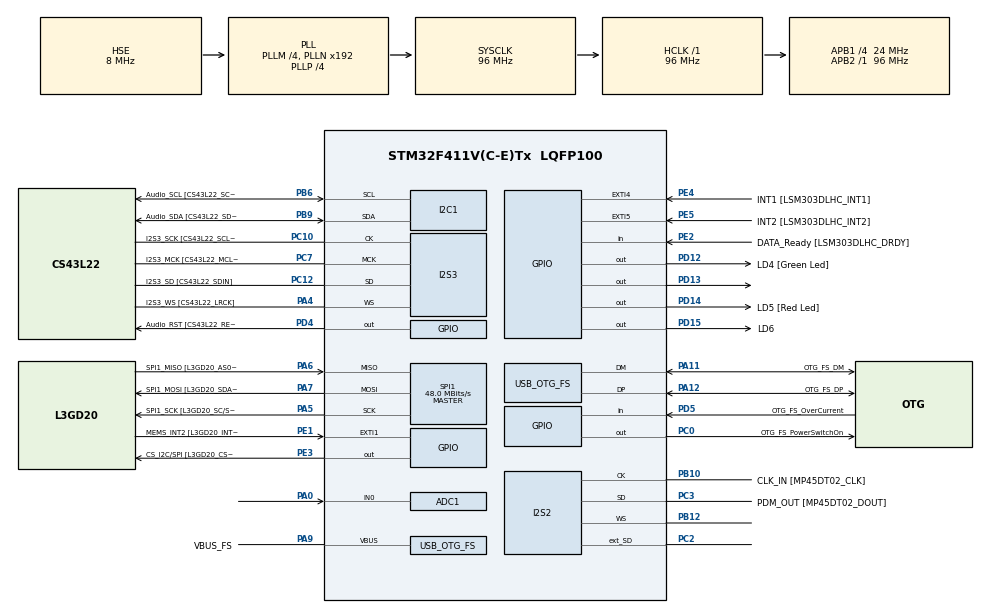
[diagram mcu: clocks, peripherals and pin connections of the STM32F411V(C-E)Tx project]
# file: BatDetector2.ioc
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ADC1.Channel-0\#ChannelRegularConversion=ADC_CHANNEL_0
ADC1.NbrOfConversionFlag=1
ADC1.Rank-0\#ChannelRegularConversion=1
ADC1.SamplingTime-0\#ChannelRegularConversion=ADC_SAMPLETIME_3CYCLES
ADC1.master=1
I2S2.AudioFreq=I2S_AUDIOFREQ_96K
I2S2.ErrorAudioFreq=0.15 %
I2S2.FullDuplexMode=I2S_FULLDUPLEXMODE_ENABLE
I2S2.Instance=SPI$Index
I2S2.RealAudioFreq=96.153 KHz
I2S2.VirtualMode=I2S_MODE_MASTER
I2S3.AudioFreq=I2S_AUDIOFREQ_96K
I2S3.ErrorAudioFreq=-6.99 %
I2S3.FullDuplexMode=I2S_FULLDUPLEXMODE_DISABLE
I2S3.Instance=SPI$Index
I2S3.RealAudioFreq=89.285 KHz
I2S3.VirtualMode=I2S_MODE_MASTER
Mcu.Family=STM32F4
Mcu.Name=STM32F411V(C-E)Tx
Mcu.Package=LQFP100
NVIC.OTG_FS_IRQn=true\:0\:0\:false\:false\:true\:true\:true\:true
NVIC.PriorityGroup=NVIC_PRIORITYGROUP_0
PA0-WKUP.Signal=ADCx_IN0
PA10.GPIO_Label=OTG_FS_ID
PA10.Signal=USB_OTG_FS_ID
PA11.GPIO_Label=OTG_FS_DM
PA11.Mode=Host_Only
PA11.Signal=USB_OTG_FS_DM
PA12.GPIO_Label=OTG_FS_DP
PA12.Mode=Host_Only
PA12.Signal=USB_OTG_FS_DP
PA13.GPIO_Label=SWDIO
PA13.Mode=Serial_Wire
PA13.Signal=SYS_JTMS-SWDIO
PA14.GPIO_Label=SWCLK
PA14.Mode=Serial_Wire
PA14.Signal=SYS_JTCK-SWCLK
PA4.GPIO_Label=I2S3_WS [CS43L22_LRCK]
PA4.GPIO_Mode=GPIO_MODE_AF_PP
PA4.GPIO_PuPd=GPIO_NOPULL
PA4.GPIO_Speed=GPIO_SPEED_FREQ_LOW
PA4.Mode=Half_Duplex_Master
PA4.Signal=I2S3_WS
PA5.GPIO_Label=SPI1_SCK [L3GD20_SC/SPC]
PA5.Mode=Full_Duplex_Master
PA5.Signal=SPI1_SCK
PA6.GPIO_Label=SPI1_MISO [L3GD20_AS0/SDO]
PA6.Mode=Full_Duplex_Master
PA6.Signal=SPI1_MISO
PA7.GPIO_Label=SPI1_MOSI [L3GD20_SDA/SDI/SDO]
PA7.Mode=Full_Duplex_Master
PA7.Signal=SPI1_MOSI
PA9.GPIO_Label=VBUS_FS
PA9.Mode=Activate_VBUS
PA9.Signal=USB_OTG_FS_VBUS
PB10.GPIO_Label=CLK_IN [MP45DT02_CLK]
PB10.Mode=Full_Duplex_Master
PB10.Signal=I2S2_CK
PB12.Mode=Full_Duplex_Master
PB12.Signal=I2S2_WS
PB3.GPIO_Label=SWO
PB3.Signal=SYS_JTDO-SWO
PB6.GPIO_Label=Audio_SCL [CS43L22_SCL]
PB6.GPIO_Mode=GPIO_MODE_AF_OD
PB6.GPIO_Pu=GPIO_PULLUP
PB6.GPIO_PuPd=GPIO_NOPULL
PB6.GPIO_Speed=GPIO_SPEED_FREQ_LOW
PB6.Mode=I2C
PB6.Signal=I2C1_SCL
PB9.GPIO_Label=Audio_SDA [CS43L22_SDA]
PB9.GPIO_Mode=GPIO_MODE_AF_OD
PB9.GPIO_Pu=GPIO_PULLUP
PB9.GPIO_PuPd=GPIO_NOPULL
PB9.GPIO_Speed=GPIO_SPEED_FREQ_LOW
PB9.Mode=I2C
PB9.Signal=I2C1_SDA
PC0.GPIO_Label=OTG_FS_PowerSwitchOn
PC0.PinState=GPIO_PIN_SET
PC0.Signal=GPIO_Output
PC10.GPIO_Label=I2S3_SCK [CS43L22_SCLK]
PC10.GPIO_Mode=GPIO_MODE_AF_PP
PC10.GPIO_PuPd=GPIO_NOPULL
PC10.GPIO_Speed=GPIO_SPEED_FREQ_LOW
PC10.Mode=Half_Duplex_Master
PC10.Signal=I2S3_CK
PC12.GPIO_Label=I2S3_SD [CS43L22_SDIN]
PC12.GPIO_Mode=GPIO_MODE_AF_PP
PC12.GPIO_PuPd=GPIO_NOPULL
PC12.GPIO_Speed=GPIO_SPEED_FREQ_LOW
PC12.Mode=Half_Duplex_Master
PC12.Signal=I2S3_SD
PC14-OSC32_IN.GPIO_Label=PC14-OSC32_IN
PC14-OSC32_IN.Mode=LSE-External-Oscillator
PC14-OSC32_IN.Signal=RCC_OSC32_IN
PC15-OSC32_OUT.GPIO_Label=PC15-OSC32_OUT
PC15-OSC32_OUT.Mode=LSE-External-Oscillator
PC15-OSC32_OUT.Signal=RCC_OSC32_OUT
PC2.Mode=Full_Duplex_Master
PC2.Signal=I2S2_ext_SD
PC3.GPIO_Label=PDM_OUT [MP45DT02_DOUT]
PC3.Mode=Full_Duplex_Master
PC3.Signal=I2S2_SD
PC7.GPIO_Label=I2S3_MCK [CS43L22_MCLK]
PC7.GPIO_Mode=GPIO_MODE_AF_PP
PC7.GPIO_PuPd=GPIO_NOPULL
PC7.GPIO_Speed=GPIO_SPEED_FREQ_LOW
PC7.Mode=Master_Clock_Activated
PC7.Signal=I2S3_MCK
PD12.GPIO_Label=LD4 [Green Led]
PD12.GPIO_PuPd=GPIO_NOPULL
PD12.GPIO_Speed=GPIO_SPEED_FREQ_LOW
PD12.Signal=GPIO_Output
PD13.Signal=GPIO_Output
PD14.GPIO_Label=LD5 [Red Led]
PD14.GPIO_PuPd=GPIO_NOPULL
PD14.GPIO_Speed=GPIO_SPEED_FREQ_LOW
PD14.Signal=GPIO_Output
PD15.GPIO_Label=LD6
PD15.Signal=GPIO_Output
PD4.GPIO_Label=Audio_RST [CS43L22_RESET]
PD4.Signal=GPIO_Output
PD5.GPIO_Label=OTG_FS_OverCurrent
PD5.Signal=GPIO_Input
PE1.GPIO_Label=MEMS_INT2 [L3GD20_INT2]
PE1.GPIO_ModeDefaultEXTI=GPIO_MODE_EVT_RISING
PE1.Signal=GPXTI1
PE2.GPIO_Label=DATA_Ready [LSM303DLHC_DRDY]
PE2.Signal=GPIO_Input
PE3.GPIO_Label=CS_I2C/SPI [L3GD20_CS_I2C/SPI]
PE3.Signal=GPIO_Output
PE4.GPIO_Label=INT1 [LSM303DLHC_INT1]
PE4.GPIO_ModeDefaultEXTI=GPIO_MODE_EVT_RISING
PE4.Signal=GPXTI4
PE5.GPIO_Label=INT2 [LSM303DLHC_INT2]
PE5.GPIO_ModeDefaultEXTI=GPIO_MODE_EVT_RISING
PE5.Signal=GPXTI5
PH0\ -\ OSC_IN.GPIO_Label=PH0-OSC_IN
PH0\ -\ OSC_IN.Mode=HSE-External-Oscillator
PH0\ -\ OSC_IN.Signal=RCC_OSC_IN
PH1\ -\ OSC_OUT.GPIO_Label=PH1-OSC_OUT
PH1\ -\ OSC_OUT.Mode=HSE-External-Oscillator
PH1\ -\ OSC_OUT.Signal=RCC_OSC_OUT
ProjectManager.HeapSize=0x200
ProjectManager.StackSize=0x400
ProjectManager.TargetToolchain=STM32CubeIDE
RCC.48MHZClocksFreq_Value=48000000
RCC.AHBFreq_Value=96000000
RCC.APB1CLKDivider=RCC_HCLK_DIV4
RCC.APB1Freq_Value=24000000
RCC.APB1TimFreq_Value=48000000
RCC.APB2Freq_Value=96000000
RCC.APB2TimFreq_Value=96000000
RCC.CortexFreq_Value=96000000
RCC.HCLKFreq_Value=96000000
RCC.HSE_VALUE=8000000
RCC.HSI_VALUE=16000000
RCC.PLLI2SM=5
RCC.PLLI2SN=200
RCC.PLLM=4
RCC.PLLP=RCC_PLLP_DIV4
RCC.PLLQ=8
RCC.SYSCLKFreq_VALUE=96000000
RCC.SYSCLKSource=RCC_SYSCLKSOURCE_PLLCLK
RCC.VCOOutputFreq_Value=384000000
SH.ADCx_IN0.0=ADC1_IN0,IN0
SPI1.BaudRatePrescaler=SPI_BAUDRATEPRESCALER_2
SPI1.CalculateBaudRate=48.0 MBits/s
SPI1.Direction=SPI_DIRECTION_2LINES
SPI1.Mode=SPI_MODE_MASTER
SPI1.VirtualType=VM_MASTER
USB_HOST.BSP.number=1
USB_HOST.USBH_HandleTypeDef=hUsbHostFS
USB_HOST.VirtualModeFS=Cdc
USB_HOST0.BSP.STBoard=false
USB_HOST0.BSP.api=Unknown
USB_HOST0.BSP.instance=PC0
USB_HOST0.BSP.ip=GPIO
USB_HOST0.BSP.mode=Output
USB_HOST0.BSP.name=Drive_VBUS_FS
USB_HOST0.BSP.solution=PC0
USB_OTG_FS.VirtualMode=Host_Only
USB_OTG_FS.phy_itface=HCD_PHY_EMBEDDED
VP_USB_HOST_VS_USB_HOST_CDC_FS.Mode=CDC_FS
board=STM32F411E-DISCO

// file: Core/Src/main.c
/* USER CODE BEGIN Header */
/**
  ******************************************************************************
  * @file           : main.c
  * @brief          : Main program body
  ******************************************************************************
  * @attention
  *
  * Copyright (c) 2024 STMicroelectronics.
  * All rights reserved.
  *
  * This software is licensed under terms that can be found in the LICENSE file
  * in the root directory of this software component.
  * If no LICENSE file comes with this software, it is provided AS-IS.
  *
  ******************************************************************************
  */
/* USER CODE END Header */
#include "main.h"
#include "adc.h"
#include "i2c.h"
#include "i2s.h"
#include "spi.h"
#include "usb_host.h"
#include "gpio.h"

/* USER CODE BEGIN Includes */
#include "stm32f4xx_hal.h"
#include "arm_math.h"
/* USER CODE END Includes */

void SystemClock_Config(void);
void PeriphCommonClock_Config(void);
void MX_USB_HOST_Process(void);

int main(void)
{

  /* MCU Configuration--------------------------------------------------------*/

  /* Reset of all peripherals, Initializes the Flash interface and the Systick. */
  HAL_Init();

  /* Configure the system clock */
  SystemClock_Config();

  /* Configure the peripherals common clocks */
  PeriphCommonClock_Config();

  /* Initialize all configured peripherals */
  MX_GPIO_Init();
  MX_I2C1_Init();
  MX_I2S2_Init();
  MX_I2S3_Init();
  MX_SPI1_Init();
  MX_USB_HOST_Init();
  MX_ADC1_Init();

  /* Infinite loop */
  /* USER CODE BEGIN WHILE */
  #define NUM_TAPS 32
  float32_t highPassCoeffs[NUM_TAPS + 1] = {
      // Replace with your actual high-pass filter coefficients
		  0.018921,
		  0.000000,
		  -0.021624,
		  0.014392,
		  0.015591,
		  -0.027521,
		  -0.000000,
		  0.033637,
		  -0.023387,
		  -0.026728,
		  0.050455,
		  0.000000,
		  -0.075683,
		  0.062366,
		  0.093549,
		  -0.302731,
		  0.400000,
		  -0.302731,
		  0.093549,
		  0.062366,
		  -0.075683,
		  0.000000,
		  0.050455,
		  -0.026728,
		  -0.023387,
		  0.033637,
		  -0.000000,
		  -0.027521,
		  0.015591,
		  0.014392,
		  -0.021624,
		  0.000000,
		  0.018921
  };
  arm_fir_instance_f32 S;
  float32_t firStateF32[NUM_TAPS];

  // Initialize FIR instance
  arm_fir_init_f32(&S, NUM_TAPS, highPassCoeffs, firStateF32, 1);
  while (1)
  {

    /* USER CODE END WHILE */
	  HAL_ADC_Start(&hadc1);
	  HAL_ADC_PollForConversion(&hadc1, HAL_MAX_DELAY);
	  float32_t inputSample = (float32_t)HAL_ADC_GetValue(&hadc1);
	  float32_t outputSample;

	  arm_fir_f32(&S, &inputSample, &outputSample, 1);

	  if (outputSample > 100.0f) {
		  HAL_GPIO_WritePin(GPIOD, GPIO_PIN_15, GPIO_PIN_SET);
	  } else {
		  HAL_GPIO_WritePin(GPIOD, GPIO_PIN_15, GPIO_PIN_RESET);
	  }

	  HAL_Delay(1);

	  /* USER CODE END WHILE */
	  MX_USB_HOST_Process();

  }
}

void SystemClock_Config(void)
{
  RCC_OscInitTypeDef RCC_OscInitStruct = {0};
  RCC_ClkInitTypeDef RCC_ClkInitStruct = {0};

  /** Configure the main internal regulator output voltage
  */
  __HAL_RCC_PWR_CLK_ENABLE();
  __HAL_PWR_VOLTAGESCALING_CONFIG(PWR_REGULATOR_VOLTAGE_SCALE1);

  /** Initializes the RCC Oscillators according to the specified parameters
  * in the RCC_OscInitTypeDef structure.
  */
  RCC_OscInitStruct.OscillatorType = RCC_OSCILLATORTYPE_HSE;
  RCC_OscInitStruct.HSEState = RCC_HSE_ON;
  RCC_OscInitStruct.PLL.PLLState = RCC_PLL_ON;
  RCC_OscInitStruct.PLL.PLLSource = RCC_PLLSOURCE_HSE;
  RCC_OscInitStruct.PLL.PLLM = 4;
  RCC_OscInitStruct.PLL.PLLN = 192;
  RCC_OscInitStruct.PLL.PLLP = RCC_PLLP_DIV4;
  RCC_OscInitStruct.PLL.PLLQ = 8;
  if (HAL_RCC_OscConfig(&RCC_OscInitStruct) != HAL_OK)
  {
    Error_Handler();
  }

  /** Initializes the CPU, AHB and APB buses clocks
  */
  RCC_ClkInitStruct.ClockType = RCC_CLOCKTYPE_HCLK|RCC_CLOCKTYPE_SYSCLK
                              |RCC_CLOCKTYPE_PCLK1|RCC_CLOCKTYPE_PCLK2;
  RCC_ClkInitStruct.SYSCLKSource = RCC_SYSCLKSOURCE_PLLCLK;
  RCC_ClkInitStruct.AHBCLKDivider = RCC_SYSCLK_DIV1;
  RCC_ClkInitStruct.APB1CLKDivider = RCC_HCLK_DIV4;
  RCC_ClkInitStruct.APB2CLKDivider = RCC_HCLK_DIV1;

  if (HAL_RCC_ClockConfig(&RCC_ClkInitStruct, FLASH_LATENCY_3) != HAL_OK)
  {
    Error_Handler();
  }
}

void PeriphCommonClock_Config(void)
{
  RCC_PeriphCLKInitTypeDef PeriphClkInitStruct = {0};

  /** Initializes the peripherals clock
  */
  PeriphClkInitStruct.PeriphClockSelection = RCC_PERIPHCLK_I2S;
  PeriphClkInitStruct.PLLI2S.PLLI2SN = 200;
  PeriphClkInitStruct.PLLI2S.PLLI2SM = 5;
  PeriphClkInitStruct.PLLI2S.PLLI2SR = 2;
  if (HAL_RCCEx_PeriphCLKConfig(&PeriphClkInitStruct) != HAL_OK)
  {
    Error_Handler();
  }
}

void Error_Handler(void)
{
  __disable_irq();
  while (1)
  {
  }
}
